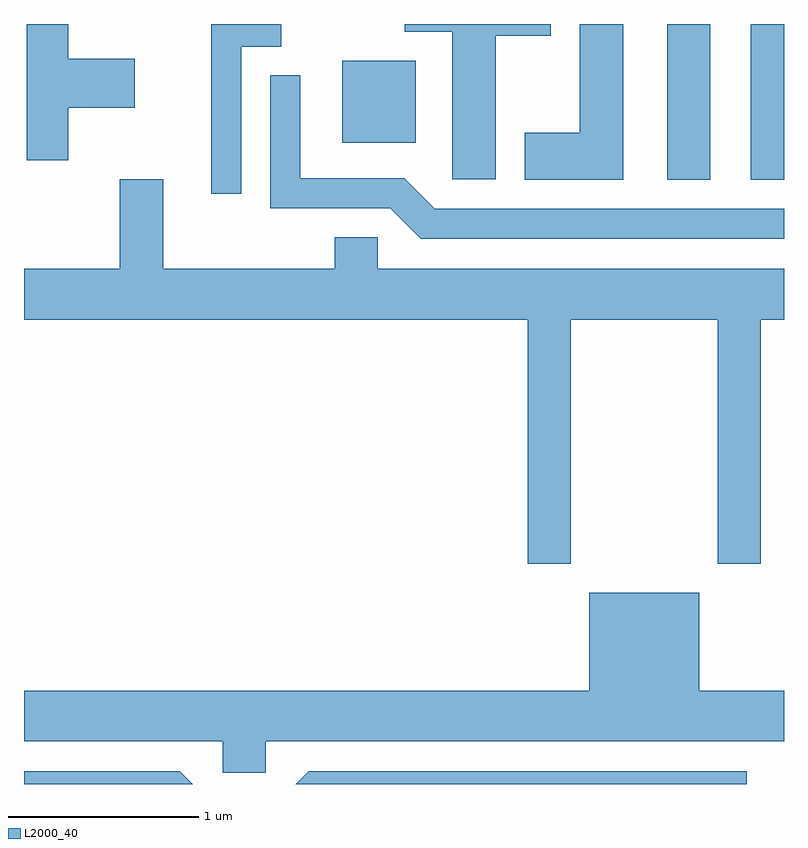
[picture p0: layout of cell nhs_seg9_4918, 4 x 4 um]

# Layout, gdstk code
import gdstk
lib = gdstk.Library(unit=1e-6, precision=1e-09)
def R(c, l, rs):  # rectangles x0, y0, x1, y1
    for r in rs: c.add(gdstk.rectangle(r[:2], r[2:], *l))
def P(c, l, *ps):  # polygons
    for p in ps: c.add(gdstk.Polygon(p, *l))
L2000_40 = (2000, 40)

nhs_seg9_4918 = lib.new_cell('nhs_seg9_4918')
R(nhs_seg9_4918, L2000_40, [(332.996,2043.611,333.224,2044.432), (333.436,2043.611,333.611,2044.432), (331.286,2043.806,331.674,2044.239)])
P(nhs_seg9_4918, L2000_40, [(329.844,2043.991),(330.194,2043.991),(330.194,2044.249),(329.844,2044.249),(329.844,2044.432),(329.626,2044.432),(329.626,2043.716),(329.844,2043.716)],
  [(332.764,2044.432),(332.536,2044.432),(332.536,2043.859),(332.246,2043.859),(332.246,2043.611),(332.764,2043.611)],
  [(332.094,2044.371),(332.384,2044.371),(332.384,2044.432),(331.616,2044.432),(331.616,2044.391),(331.866,2044.391),(331.866,2043.616),(332.094,2043.616)],
  [(330.754,2044.311),(330.964,2044.311),(330.964,2044.432),(330.596,2044.432),(330.596,2043.538),(330.754,2043.538)],
  [(333.611,2043.459),(331.772,2043.459),(331.612,2043.619),(331.064,2043.619),(331.064,2044.163),(330.906,2044.163),(330.906,2043.461),(331.539,2043.461),(331.699,2043.301),(333.611,2043.301)],
  [(332.489,2042.876),(333.261,2042.876),(333.261,2041.591),(333.489,2041.591),(333.489,2042.876),(333.611,2042.876),(333.611,2043.144),(331.474,2043.144),(331.474,2043.309),(331.246,2043.309),(331.246,2043.144),(330.344,2043.144),(330.344,2043.614),(330.116,2043.614),(330.116,2043.144),(329.611,2043.144),(329.611,2042.876),(332.261,2042.876),(332.261,2041.591),(332.489,2041.591)],
  [(330.884,2040.656),(333.611,2040.656),(333.611,2040.924),(333.164,2040.924),(333.164,2041.439),(332.586,2041.439),(332.586,2040.924),(329.611,2040.924),(329.611,2040.656),(330.656,2040.656),(330.656,2040.491),(330.884,2040.491)],
  [(333.414,2040.499),(331.109,2040.499),(331.042,2040.432),(333.414,2040.432)],
  [(330.432,2040.499),(329.611,2040.499),(329.611,2040.432),(330.499,2040.432)])

lib.write_gds('nhs_seg9_4918.gds')
